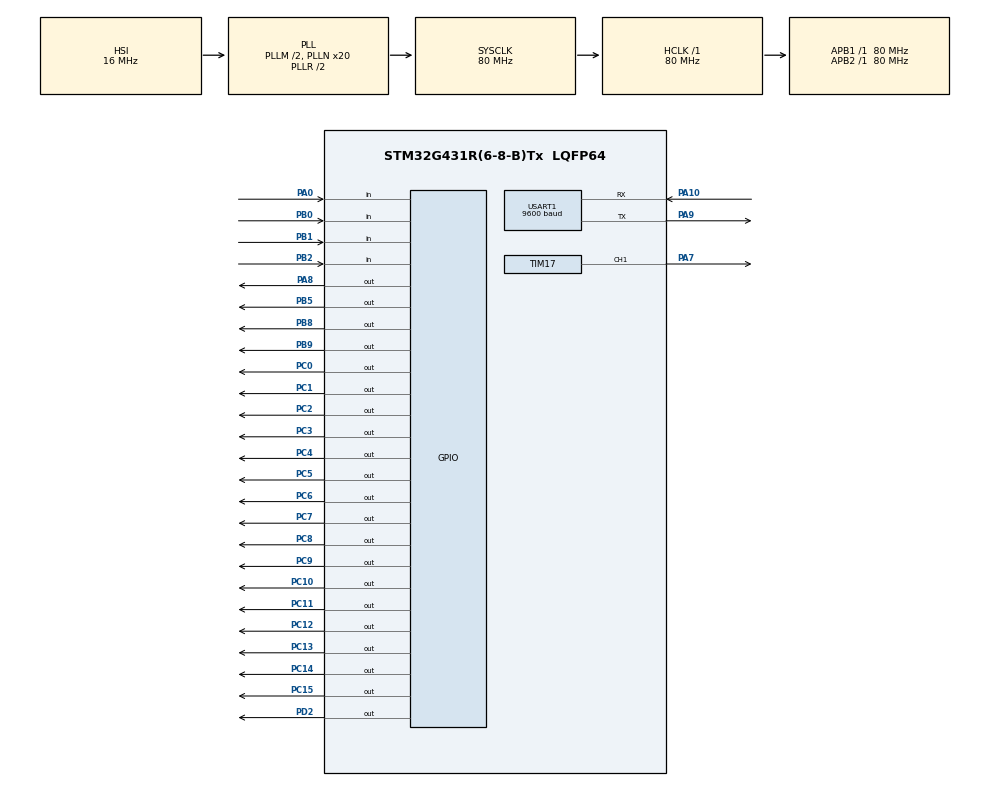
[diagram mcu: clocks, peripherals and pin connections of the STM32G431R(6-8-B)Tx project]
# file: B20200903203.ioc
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Mcu.Family=STM32G4
Mcu.Name=STM32G431R(6-8-B)Tx
Mcu.Package=LQFP64
NVIC.PriorityGroup=NVIC_PRIORITYGROUP_4
NVIC.TIM4_IRQn=true\:0\:0\:false\:false\:true\:true\:true
NVIC.USART1_IRQn=true\:0\:0\:false\:false\:true\:true\:true
PA0.Signal=GPIO_Input
PA10.Mode=Asynchronous
PA10.Signal=USART1_RX
PA7.Signal=S_TIM17_CH1
PA8.Signal=GPIO_Output
PA9.Mode=Asynchronous
PA9.Signal=USART1_TX
PB0.Signal=GPIO_Input
PB1.Signal=GPIO_Input
PB2.Signal=GPIO_Input
PB5.Signal=GPIO_Output
PB8-BOOT0.Signal=GPIO_Output
PB9.Signal=GPIO_Output
PC0.Signal=GPIO_Output
PC1.Signal=GPIO_Output
PC10.Signal=GPIO_Output
PC11.Signal=GPIO_Output
PC12.Signal=GPIO_Output
PC13.Signal=GPIO_Output
PC14-OSC32_IN.Signal=GPIO_Output
PC15-OSC32_OUT.Signal=GPIO_Output
PC2.Signal=GPIO_Output
PC3.Signal=GPIO_Output
PC4.Signal=GPIO_Output
PC5.Signal=GPIO_Output
PC6.Signal=GPIO_Output
PC7.Signal=GPIO_Output
PC8.Signal=GPIO_Output
PC9.Signal=GPIO_Output
PD2.Signal=GPIO_Output
PF0-OSC_IN.Mode=HSE-External-Oscillator
PF0-OSC_IN.Signal=RCC_OSC_IN
PF1-OSC_OUT.Mode=HSE-External-Oscillator
PF1-OSC_OUT.Signal=RCC_OSC_OUT
ProjectManager.HeapSize=0x200
ProjectManager.StackSize=0x400
ProjectManager.TargetToolchain=MDK-ARM V5.27
RCC.ADC12Freq_Value=80000000
RCC.AHBFreq_Value=80000000
RCC.APB1Freq_Value=80000000
RCC.APB1TimFreq_Value=80000000
RCC.APB2Freq_Value=80000000
RCC.APB2TimFreq_Value=80000000
RCC.CortexFreq_Value=80000000
RCC.EXTERNAL_CLOCK_VALUE=12288000
RCC.HCLKFreq_Value=80000000
RCC.HSE_VALUE=24000000
RCC.HSI48_VALUE=48000000
RCC.HSI_VALUE=16000000
RCC.LSE_VALUE=32768
RCC.PLLM=RCC_PLLM_DIV2
RCC.PLLN=20
RCC.SYSCLKFreq_VALUE=80000000
RCC.SYSCLKSource=RCC_SYSCLKSOURCE_PLLCLK
RCC.USBFreq_Value=80000000
RCC.VCOOutputFreq_Value=160000000
SH.S_TIM17_CH1.0=TIM17_CH1,PWM Generation1 CH1
TIM17.AutoReloadPreload=TIM_AUTORELOAD_PRELOAD_ENABLE
TIM17.Channel=TIM_CHANNEL_1
TIM17.PeriodNoDither=500
TIM17.Prescaler=79
TIM17.PulseNoDither_1=100
TIM4.PeriodNoDither=10000
TIM4.Prescaler=80
USART1.BaudRate=9600
USART1.VirtualMode-Asynchronous=VM_ASYNC
VP_SYS_VS_DBSignals.Mode=DisableDeadBatterySignals
VP_TIM17_VS_ClockSourceINT.Mode=Enable_Timer
VP_TIM4_VS_ClockSourceINT.Mode=Internal
board=custom

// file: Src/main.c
/* USER CODE BEGIN Header */
/**
  ******************************************************************************
  * @file           : main.c
  * @brief          : Main program body
  ******************************************************************************
  * @attention
  *
  * <h2><center>&copy; Copyright (c) 2021 STMicroelectronics.
  * All rights reserved.</center></h2>
  *
  * This software component is licensed by ST under BSD 3-Clause license,
  * the "License"; You may not use this file except in compliance with the
  * License. You may obtain a copy of the License at:
  *                        opensource.org/licenses/BSD-3-Clause
  *
  ******************************************************************************
  */
/* USER CODE END Header */

#include "main.h"
#include "tim.h"
#include "usart.h"
#include "gpio.h"

/* USER CODE BEGIN Includes */
#include "led.h"
#include "lcd.h"
#include "key.h"
#include "stdio.h"
#include "string.h"
/* USER CODE END Includes */

void SystemClock_Config(void);

/* USER CODE BEGIN 0 */
#define DISPLAY_MAIN 0
#define DISPLAY_PARA 1
#define PA7_LOW      0
#define PA7_DUTY     1
u8      display_mode = DISPLAY_MAIN;

u8      type_cnbr,type_vnbr = 0;
u8      type_idle = 8;
u8      pay_cnbr = 35,pay_vnbr = 20;
_Bool   pa7_mode = PA7_LOW;

void LCD_Process(void)
{
    char display_buf[20];
    if( display_mode == DISPLAY_MAIN)
    {
        LCD_DisplayStringLine(Line1 ,(unsigned char *)"       Data         ");

        sprintf((char *)display_buf,"   CNBR:%d         ",type_cnbr);
        LCD_DisplayStringLine(Line3 ,(u8*)display_buf);

        sprintf((char *)display_buf,"   VNBR:%d         ",type_vnbr);
        LCD_DisplayStringLine(Line5 ,(u8*)display_buf);

        sprintf((char *)display_buf,"   IDLE:%d         ",type_idle);
        LCD_DisplayStringLine(Line7 ,(u8*)display_buf);

         sprintf((char *)display_buf,"   f:%d         ",TIM17->CCR1);
         LCD_DisplayStringLine(Line8 ,(u8*)display_buf);
    }
    else if( display_mode == DISPLAY_PARA )
    {
        LCD_DisplayStringLine(Line1 ,(unsigned char *)"       Para         ");

        sprintf((char *)display_buf,"   CNBR:%4.2f         ",pay_cnbr/10.0f);
        LCD_DisplayStringLine(Line3 ,(u8*)display_buf);

        sprintf((char *)display_buf,"   VNBR:%4.2f         ",pay_vnbr/10.0f);
        LCD_DisplayStringLine(Line5 ,(u8*)display_buf);
    }
}

extern struct keys key[4];
void KEY_Process(void)
{
    if(key[0].key_flag == 1)
    {
        LCD_Clear(Black);
        display_mode = !display_mode;
        key[0].key_flag = 0;
    }
    if ( key[1].key_flag == 1)
    {
        if( display_mode == DISPLAY_PARA)
        {
            pay_cnbr += 5;
            pay_vnbr += 5;
        }
        key[1].key_flag = 0;
    }
    if ( key[2].key_flag == 1)
    {
        if( display_mode == DISPLAY_PARA)
        {
            pay_cnbr -= 5;
            pay_vnbr -= 5;
        }
        key[2].key_flag = 0;
    }
    if ( key[3].key_flag == 1)
    {
        pa7_mode = !pa7_mode;
        key[3].key_flag = 0;
    }
}

u8 led_contrl = 0;
void LED_Process(void)
{
    if( type_idle > 0)
        led_contrl |= 0x01;
    else
        led_contrl &= ~0x01;
    if (pa7_mode == PA7_DUTY)
        led_contrl |= 0x02;
    else
        led_contrl &= ~0x02;

    LED_Contrl(led_contrl);
}

void PWM_Process(void)
{
    if(pa7_mode == PA7_LOW)
    {
        TIM17->CCR1 =  100;
    }
    else
    {
        TIM17->CCR1 = 0;
    }
}

u32   uartTick = 0;
char rxdata[30];
uint8_t rxdat;
u8 rx_pointer;
void HAL_UART_RxCpltCallback(UART_HandleTypeDef *huart)
{
    uartTick = uwTick;
    rxdata[rx_pointer++]=rxdat;
    HAL_UART_Receive_IT(&huart1,&rxdat,1);
}
u8 now_year,now_month,now_dat,now_hour,now_minute,now_second;
u8 cfm_year,cfm_month,cfm_dat,cfm_hour,cfm_minute,cfm_second;

typedef struct
{
    u8 type[5];
    u8 code[5];
    u8 in_year;
    u8 in_month;
    u8 in_day;
    u8 in_hour;
    u8 in_minute;
    u8 in_second;
    u8 pos;
}TYPE_CAR_INFO;

_Bool Check_String(u8 *str)
{
    if(str[4] == ':' && str[9] == ':' && str[1] == 'N' && str[2] == 'B' && str[3] == 'R' && (str[0]=='C' || str[0] == 'V'))
    {
        for(int i = 10;i<21;i++)
        {
            if(str[i] < '0' || str[i] > '9')
                return 0;
        }
        now_year  = (str[10] - '0')*10+(str[11] - '0');
        now_month = (str[12] - '0')*10+(str[13] - '0');
        now_dat   = (str[14] - '0')*10+(str[15] - '0');
        now_hour  = (str[16] - '0')*10+(str[17] - '0');
        now_minute= (str[18] - '0')*10+(str[19] - '0');
        now_second= (str[20] - '0')*10+(str[21] - '0');
        if((now_year > 99) ||(now_month > 12)||(now_dat > 31)||(now_hour > 23)||(now_minute > 59) ||(now_second>59))
        {
            return 0;
        }
        cfm_year  = (str[10] - '0')*10+(str[11] - '0');
        cfm_month = (str[12] - '0')*10+(str[13] - '0');
        cfm_dat   = (str[14] - '0')*10+(str[15] - '0');
        cfm_hour  = (str[16] - '0')*10+(str[17] - '0');
        cfm_minute= (str[18] - '0')*10+(str[19] - '0');
        cfm_second= (str[20] - '0')*10+(str[21] - '0');
        return 1;
    }
    return 0;
}

TYPE_CAR_INFO car_info[8];
int Check_Enter_Leave(u8* str) // 有则退场1，无则进场0
{
    u8 i;
    for(i = 0;i<8;i++)
    {
        if((car_info[i].code[0] == str[0])&&(car_info[i].code[1] == str[1])&&(car_info[i].code[2] == str[2])&&(car_info[i].code[3] == str[3]))
            return i + 1;
    }
    return 0;
}

int Check_Idle_Pos(void)
{
    u8 i = 0;
    for(;i<8;i++)
    {
        if(car_info[i].pos == 0)
            return i + 1;
    }
    return 0;//车位满了
}
long fee_time_sec = 0;
long fee_time_hour = 0;
u8 tmp[4];
u8 car_out_pos;
int car_in_pos;
void RxIdle_Process(void)
{
    if(uwTick - uartTick < 50) return;
    uartTick = uwTick;
    if(rx_pointer > 0)
    {
        if(rx_pointer == 22)
        {
            char temp[20];
            if(Check_String((u8*)rxdata))
            {
                tmp[0] = rxdata[5];tmp[1] = rxdata[6];tmp[2] = rxdata[7];tmp[3] = rxdata[8];
                car_out_pos = Check_Enter_Leave((u8*)tmp);
                if(car_out_pos == 0)  // 进场
                {
                    //找空闲车位
                    car_in_pos = Check_Idle_Pos();
                    if(car_in_pos == 0)
                    {
                        sprintf(temp,"Error\r\n");
                        HAL_UART_Transmit(&huart1,(uint8_t *)temp,strlen(temp),50);  //超时时间
                        return;
                    }
                    car_info[car_in_pos - 1].type[0] = rxdata[0];car_info[car_in_pos - 1].type[1] = rxdata[1];car_info[car_in_pos - 1].type[2] = rxdata[2];car_info[car_in_pos - 1].type[3] = rxdata[3];
                    car_info[car_in_pos - 1].code[0] = rxdata[5];car_info[car_in_pos - 1].code[1] = rxdata[6];car_info[car_in_pos - 1].code[2] = rxdata[7]; car_info[car_in_pos - 1].code[3] = rxdata[8];
                    car_info[car_in_pos - 1].in_year = cfm_year;
                    car_info[car_in_pos - 1].in_month = cfm_month;
                    car_info[car_in_pos - 1].in_day = cfm_dat;
                    car_info[car_in_pos - 1].in_hour = cfm_hour;
                    car_info[car_in_pos - 1].in_minute = cfm_minute;
                    car_info[car_in_pos - 1].in_second = cfm_second;
                    car_info[car_in_pos - 1].pos = car_in_pos;
                    if(rxdata[0] =='C')
                    {
                        type_cnbr++;
                        type_idle--;
                    }
                    else if(rxdata[0] =='V')
                    {
                        type_vnbr++;
                        type_idle--;
                    }
                }
                else              //离场
                {
                    fee_time_sec = (cfm_year - car_info[car_out_pos - 1].in_year)*365*24*60*60
                    + (cfm_month - car_info[car_out_pos - 1].in_month)*30*24*60*60 + (cfm_dat - car_info[car_out_pos - 1].in_day)*24*60*60
                    + (cfm_hour - car_info[car_out_pos - 1].in_hour)*60*60 + (cfm_minute - car_info[car_out_pos - 1].in_minute)*60
                    + (cfm_second - car_info[car_out_pos - 1].in_second);
                    if(fee_time_sec < 0)
                    {
                        return;
                    }
                    fee_time_hour = (fee_time_sec + 3599)/3600;
                    sprintf(temp,"%s:%s:%ld:%.2f\r\n",car_info[car_out_pos - 1].type,car_info[car_out_pos - 1].code,fee_time_hour,(double)fee_time_hour*(rxdata[0]=='C'?pay_cnbr:pay_vnbr)/10.0f);
                    HAL_UART_Transmit(&huart1,(uint8_t *)temp,strlen(temp),50);  //超时时间
                    memset(&car_info[car_out_pos - 1],0,sizeof(car_info[car_out_pos - 1]));
                     if(rxdata[0] =='C')
                    {
                        type_cnbr--;
                        type_idle++;
                    }
                    else if(rxdata[0] =='V')
                    {
                        type_vnbr--;
                        type_idle++;
                    }
                }
            }
            else
            {
                char temp[20];
                sprintf(temp,"Error\r\n");
                HAL_UART_Transmit(&huart1,(uint8_t *)temp,strlen(temp),50);  //超时时间
            }
        }
        else
        {
            char temp[20];
            sprintf(temp,"Error\n\r");
            HAL_UART_Transmit(&huart1,(uint8_t *)temp,strlen(temp),50);  //超时时间
        }
         rx_pointer = 0;
         memset(rxdata,0,30);
    }
}
/* USER CODE END 0 */

int main(void)
{

  /* MCU Configuration--------------------------------------------------------*/

  /* Reset of all peripherals, Initializes the Flash interface and the Systick. */
  HAL_Init();

  /* Configure the system clock */
  SystemClock_Config();

  /* Initialize all configured peripherals */
  MX_GPIO_Init();
  MX_TIM4_Init();
  MX_TIM17_Init();
  MX_USART1_UART_Init();
  /* USER CODE BEGIN 2 */
    //TIM17->CCR1 = 0;
    HAL_UART_Receive_IT(&huart1,&rxdat,1);
    HAL_TIM_Base_Start_IT(&htim4);
	LCD_Init();
    HAL_TIM_PWM_Start(&htim17,TIM_CHANNEL_1);

  /* USER CODE END 2 */

  /* Infinite loop */
  /* USER CODE BEGIN WHILE */

	LCD_Clear(Black);
	LCD_SetBackColor(Black);
	LCD_SetTextColor(White);

  while (1)
  {
    /* USER CODE END WHILE */

    /* USER CODE BEGIN 3 */
      LCD_Process();
      KEY_Process();
      LED_Process();
      PWM_Process();
      RxIdle_Process();
  }
  /* USER CODE END 3 */
}

void SystemClock_Config(void)
{
  RCC_OscInitTypeDef RCC_OscInitStruct = {0};
  RCC_ClkInitTypeDef RCC_ClkInitStruct = {0};
  RCC_PeriphCLKInitTypeDef PeriphClkInit = {0};

  /** Configure the main internal regulator output voltage
  */
  HAL_PWREx_ControlVoltageScaling(PWR_REGULATOR_VOLTAGE_SCALE1);
  /** Initializes the CPU, AHB and APB busses clocks
  */
  RCC_OscInitStruct.OscillatorType = RCC_OSCILLATORTYPE_HSI;
  RCC_OscInitStruct.HSIState = RCC_HSI_ON;
  RCC_OscInitStruct.HSICalibrationValue = RCC_HSICALIBRATION_DEFAULT;
  RCC_OscInitStruct.PLL.PLLState = RCC_PLL_ON;
  RCC_OscInitStruct.PLL.PLLSource = RCC_PLLSOURCE_HSI;
  RCC_OscInitStruct.PLL.PLLM = RCC_PLLM_DIV2;
  RCC_OscInitStruct.PLL.PLLN = 20;
  RCC_OscInitStruct.PLL.PLLP = RCC_PLLP_DIV2;
  RCC_OscInitStruct.PLL.PLLQ = RCC_PLLQ_DIV2;
  RCC_OscInitStruct.PLL.PLLR = RCC_PLLR_DIV2;
  if (HAL_RCC_OscConfig(&RCC_OscInitStruct) != HAL_OK)
  {
    Error_Handler();
  }
  /** Initializes the CPU, AHB and APB busses clocks
  */
  RCC_ClkInitStruct.ClockType = RCC_CLOCKTYPE_HCLK|RCC_CLOCKTYPE_SYSCLK
                              |RCC_CLOCKTYPE_PCLK1|RCC_CLOCKTYPE_PCLK2;
  RCC_ClkInitStruct.SYSCLKSource = RCC_SYSCLKSOURCE_PLLCLK;
  RCC_ClkInitStruct.AHBCLKDivider = RCC_SYSCLK_DIV1;
  RCC_ClkInitStruct.APB1CLKDivider = RCC_HCLK_DIV1;
  RCC_ClkInitStruct.APB2CLKDivider = RCC_HCLK_DIV1;

  if (HAL_RCC_ClockConfig(&RCC_ClkInitStruct, FLASH_LATENCY_3) != HAL_OK)
  {
    Error_Handler();
  }
  /** Initializes the peripherals clocks
  */
  PeriphClkInit.PeriphClockSelection = RCC_PERIPHCLK_USART1;
  PeriphClkInit.Usart1ClockSelection = RCC_USART1CLKSOURCE_PCLK2;
  if (HAL_RCCEx_PeriphCLKConfig(&PeriphClkInit) != HAL_OK)
  {
    Error_Handler();
  }
}

void Error_Handler(void)
{
}

/************************ (C) COPYRIGHT STMicroelectronics *****END OF FILE****/
